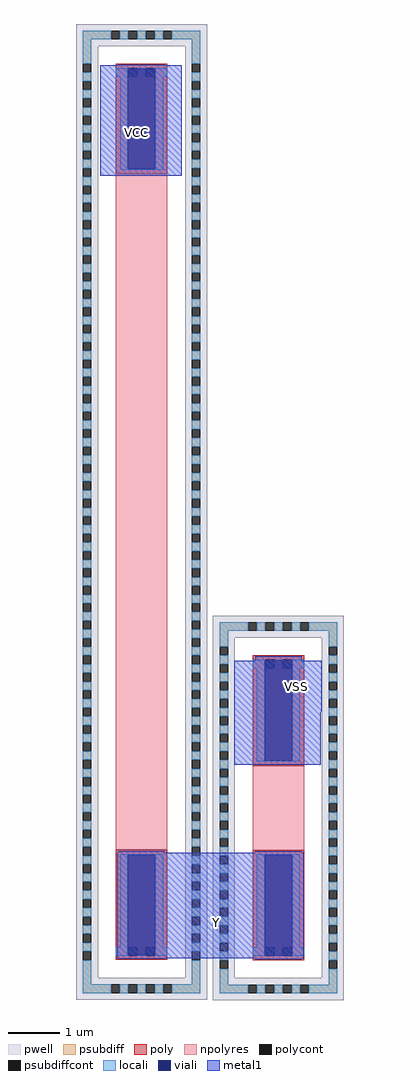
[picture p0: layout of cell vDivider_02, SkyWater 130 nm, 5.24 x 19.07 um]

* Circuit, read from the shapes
.subckt vDivider_02 VCC Y VSS
R1 VCC Y sky130_fd_pr__res_generic_po w=1 l=13.2
R2 VSS Y sky130_fd_pr__res_generic_po w=1 l=1.65
.ends

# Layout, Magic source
magic
tech sky130B
magscale 1 2
<< metal1 >>
rect 52 3776 370 4208
rect 576 1682 918 1882
rect 576 1476 914 1682
rect 118 720 846 1132
use sky130_fd_pr__res_generic_po_4WEV9M  R1
transform 1 0 748 0 1 1307
box -256 -751 256 751
use sky130_fd_pr__res_generic_po_4LLJEK  R3
transform 1 0 213 0 1 2463
box -256 -1906 256 1906
<< labels >>
flabel metal1 s 92 3846 292 4046 0 FreeSans 320 0 0 0 VCC
port 1 nsew
flabel metal1 s 404 758 604 958 0 FreeSans 320 0 0 0 Y
port 2 nsew
flabel metal1 s 718 1682 918 1882 0 FreeSans 320 0 0 0 VSS
port 3 nsew
<< end >>

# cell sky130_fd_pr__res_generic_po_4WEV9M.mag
magic
tech sky130B
magscale 1 2
<< pwell >>
rect -256 665 256 751
rect -256 -665 -170 665
rect 170 -665 256 665
rect -256 -751 256 -665
<< psubdiff >>
rect -230 691 -119 725
rect -85 691 -51 725
rect -17 691 17 725
rect 51 691 85 725
rect 119 691 230 725
rect -230 629 -196 691
rect 196 629 230 691
rect -230 561 -196 595
rect -230 493 -196 527
rect -230 425 -196 459
rect -230 357 -196 391
rect -230 289 -196 323
rect -230 221 -196 255
rect -230 153 -196 187
rect -230 85 -196 119
rect -230 17 -196 51
rect -230 -51 -196 -17
rect -230 -119 -196 -85
rect -230 -187 -196 -153
rect -230 -255 -196 -221
rect -230 -323 -196 -289
rect -230 -391 -196 -357
rect -230 -459 -196 -425
rect -230 -527 -196 -493
rect -230 -595 -196 -561
rect 196 561 230 595
rect 196 493 230 527
rect 196 425 230 459
rect 196 357 230 391
rect 196 289 230 323
rect 196 221 230 255
rect 196 153 230 187
rect 196 85 230 119
rect 196 17 230 51
rect 196 -51 230 -17
rect 196 -119 230 -85
rect 196 -187 230 -153
rect 196 -255 230 -221
rect 196 -323 230 -289
rect 196 -391 230 -357
rect 196 -459 230 -425
rect 196 -527 230 -493
rect 196 -595 230 -561
rect -230 -691 -196 -629
rect 196 -691 230 -629
rect -230 -725 -119 -691
rect -85 -725 -51 -691
rect -17 -725 17 -691
rect 51 -725 85 -691
rect 119 -725 230 -691
<< psubdiffcont >>
rect -119 691 -85 725
rect -51 691 -17 725
rect 17 691 51 725
rect 85 691 119 725
rect -230 595 -196 629
rect 196 595 230 629
rect -230 527 -196 561
rect -230 459 -196 493
rect -230 391 -196 425
rect -230 323 -196 357
rect -230 255 -196 289
rect -230 187 -196 221
rect -230 119 -196 153
rect -230 51 -196 85
rect -230 -17 -196 17
rect -230 -85 -196 -51
rect -230 -153 -196 -119
rect -230 -221 -196 -187
rect -230 -289 -196 -255
rect -230 -357 -196 -323
rect -230 -425 -196 -391
rect -230 -493 -196 -459
rect -230 -561 -196 -527
rect 196 527 230 561
rect 196 459 230 493
rect 196 391 230 425
rect 196 323 230 357
rect 196 255 230 289
rect 196 187 230 221
rect 196 119 230 153
rect 196 51 230 85
rect 196 -17 230 17
rect 196 -85 230 -51
rect 196 -153 230 -119
rect 196 -221 230 -187
rect 196 -289 230 -255
rect 196 -357 230 -323
rect 196 -425 230 -391
rect 196 -493 230 -459
rect 196 -561 230 -527
rect -230 -629 -196 -595
rect 196 -629 230 -595
rect -119 -725 -85 -691
rect -51 -725 -17 -691
rect 17 -725 51 -691
rect 85 -725 119 -691
<< poly >>
rect -100 579 100 595
rect -100 545 -51 579
rect -17 545 17 579
rect 51 545 100 579
rect -100 165 100 545
rect -100 -545 100 -165
rect -100 -579 -51 -545
rect -17 -579 17 -545
rect 51 -579 100 -545
rect -100 -595 100 -579
<< polycont >>
rect -51 545 -17 579
rect 17 545 51 579
rect -51 -579 -17 -545
rect 17 -579 51 -545
<< npolyres >>
rect -100 -165 100 165
<< locali >>
rect -230 691 -119 725
rect -85 691 -51 725
rect -17 691 17 725
rect 51 691 85 725
rect 119 691 230 725
rect -230 629 -196 691
rect -230 561 -196 595
rect 196 629 230 691
rect -100 577 -51 579
rect -17 577 17 579
rect 51 577 100 579
rect -100 545 -53 577
rect 53 545 100 577
rect 196 561 230 595
rect -230 493 -196 527
rect -230 425 -196 459
rect -230 357 -196 391
rect -230 289 -196 323
rect -230 221 -196 255
rect -230 153 -196 187
rect -84 183 -53 545
rect 53 183 84 545
rect -84 182 84 183
rect 196 493 230 527
rect 196 425 230 459
rect 196 357 230 391
rect 196 289 230 323
rect 196 221 230 255
rect -230 85 -196 119
rect -230 17 -196 51
rect -230 -51 -196 -17
rect -230 -119 -196 -85
rect -230 -187 -196 -153
rect 196 153 230 187
rect 196 85 230 119
rect 196 17 230 51
rect 196 -51 230 -17
rect 196 -119 230 -85
rect -230 -255 -196 -221
rect -230 -323 -196 -289
rect -230 -391 -196 -357
rect -230 -459 -196 -425
rect -230 -527 -196 -493
rect -84 -184 84 -182
rect -84 -545 -53 -184
rect 53 -545 84 -184
rect 196 -187 230 -153
rect 196 -255 230 -221
rect 196 -323 230 -289
rect 196 -391 230 -357
rect 196 -459 230 -425
rect 196 -527 230 -493
rect -230 -595 -196 -561
rect -100 -578 -53 -545
rect 53 -578 100 -545
rect -100 -579 -51 -578
rect -17 -579 17 -578
rect 51 -579 100 -578
rect -230 -691 -196 -629
rect 196 -595 230 -561
rect 196 -691 230 -629
rect -230 -725 -119 -691
rect -85 -725 -51 -691
rect -17 -725 17 -691
rect 51 -725 85 -691
rect 119 -725 230 -691
<< viali >>
rect -53 545 -51 577
rect -51 545 -17 577
rect -17 545 17 577
rect 17 545 51 577
rect 51 545 53 577
rect -53 183 53 545
rect -53 -545 53 -184
rect -53 -578 -51 -545
rect -51 -578 -17 -545
rect -17 -578 17 -545
rect 17 -578 51 -545
rect 51 -578 53 -545
<< metal1 >>
rect -90 577 90 591
rect -90 183 -53 577
rect 53 183 90 577
rect -90 170 90 183
rect -90 -184 90 -170
rect -90 -578 -53 -184
rect 53 -578 90 -184
rect -90 -591 90 -578
<< properties >>
string FIXED_BBOX -213 -708 213 708
<< end >>

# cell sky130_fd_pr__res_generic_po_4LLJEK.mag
magic
tech sky130B
magscale 1 2
<< pwell >>
rect -256 1820 256 1906
rect -256 -1820 -170 1820
rect 170 -1820 256 1820
rect -256 -1906 256 -1820
<< psubdiff >>
rect -230 1846 -119 1880
rect -85 1846 -51 1880
rect -17 1846 17 1880
rect 51 1846 85 1880
rect 119 1846 230 1880
rect -230 1751 -196 1846
rect 196 1751 230 1846
rect -230 1683 -196 1717
rect -230 1615 -196 1649
rect -230 1547 -196 1581
rect -230 1479 -196 1513
rect -230 1411 -196 1445
rect -230 1343 -196 1377
rect -230 1275 -196 1309
rect -230 1207 -196 1241
rect -230 1139 -196 1173
rect -230 1071 -196 1105
rect -230 1003 -196 1037
rect -230 935 -196 969
rect -230 867 -196 901
rect -230 799 -196 833
rect -230 731 -196 765
rect -230 663 -196 697
rect -230 595 -196 629
rect -230 527 -196 561
rect -230 459 -196 493
rect -230 391 -196 425
rect -230 323 -196 357
rect -230 255 -196 289
rect -230 187 -196 221
rect -230 119 -196 153
rect -230 51 -196 85
rect -230 -17 -196 17
rect -230 -85 -196 -51
rect -230 -153 -196 -119
rect -230 -221 -196 -187
rect -230 -289 -196 -255
rect -230 -357 -196 -323
rect -230 -425 -196 -391
rect -230 -493 -196 -459
rect -230 -561 -196 -527
rect -230 -629 -196 -595
rect -230 -697 -196 -663
rect -230 -765 -196 -731
rect -230 -833 -196 -799
rect -230 -901 -196 -867
rect -230 -969 -196 -935
rect -230 -1037 -196 -1003
rect -230 -1105 -196 -1071
rect -230 -1173 -196 -1139
rect -230 -1241 -196 -1207
rect -230 -1309 -196 -1275
rect -230 -1377 -196 -1343
rect -230 -1445 -196 -1411
rect -230 -1513 -196 -1479
rect -230 -1581 -196 -1547
rect -230 -1649 -196 -1615
rect -230 -1717 -196 -1683
rect 196 1683 230 1717
rect 196 1615 230 1649
rect 196 1547 230 1581
rect 196 1479 230 1513
rect 196 1411 230 1445
rect 196 1343 230 1377
rect 196 1275 230 1309
rect 196 1207 230 1241
rect 196 1139 230 1173
rect 196 1071 230 1105
rect 196 1003 230 1037
rect 196 935 230 969
rect 196 867 230 901
rect 196 799 230 833
rect 196 731 230 765
rect 196 663 230 697
rect 196 595 230 629
rect 196 527 230 561
rect 196 459 230 493
rect 196 391 230 425
rect 196 323 230 357
rect 196 255 230 289
rect 196 187 230 221
rect 196 119 230 153
rect 196 51 230 85
rect 196 -17 230 17
rect 196 -85 230 -51
rect 196 -153 230 -119
rect 196 -221 230 -187
rect 196 -289 230 -255
rect 196 -357 230 -323
rect 196 -425 230 -391
rect 196 -493 230 -459
rect 196 -561 230 -527
rect 196 -629 230 -595
rect 196 -697 230 -663
rect 196 -765 230 -731
rect 196 -833 230 -799
rect 196 -901 230 -867
rect 196 -969 230 -935
rect 196 -1037 230 -1003
rect 196 -1105 230 -1071
rect 196 -1173 230 -1139
rect 196 -1241 230 -1207
rect 196 -1309 230 -1275
rect 196 -1377 230 -1343
rect 196 -1445 230 -1411
rect 196 -1513 230 -1479
rect 196 -1581 230 -1547
rect 196 -1649 230 -1615
rect 196 -1717 230 -1683
rect -230 -1846 -196 -1751
rect 196 -1846 230 -1751
rect -230 -1880 -119 -1846
rect -85 -1880 -51 -1846
rect -17 -1880 17 -1846
rect 51 -1880 85 -1846
rect 119 -1880 230 -1846
<< psubdiffcont >>
rect -119 1846 -85 1880
rect -51 1846 -17 1880
rect 17 1846 51 1880
rect 85 1846 119 1880
rect -230 1717 -196 1751
rect -230 1649 -196 1683
rect -230 1581 -196 1615
rect -230 1513 -196 1547
rect -230 1445 -196 1479
rect -230 1377 -196 1411
rect -230 1309 -196 1343
rect -230 1241 -196 1275
rect -230 1173 -196 1207
rect -230 1105 -196 1139
rect -230 1037 -196 1071
rect -230 969 -196 1003
rect -230 901 -196 935
rect -230 833 -196 867
rect -230 765 -196 799
rect -230 697 -196 731
rect -230 629 -196 663
rect -230 561 -196 595
rect -230 493 -196 527
rect -230 425 -196 459
rect -230 357 -196 391
rect -230 289 -196 323
rect -230 221 -196 255
rect -230 153 -196 187
rect -230 85 -196 119
rect -230 17 -196 51
rect -230 -51 -196 -17
rect -230 -119 -196 -85
rect -230 -187 -196 -153
rect -230 -255 -196 -221
rect -230 -323 -196 -289
rect -230 -391 -196 -357
rect -230 -459 -196 -425
rect -230 -527 -196 -493
rect -230 -595 -196 -561
rect -230 -663 -196 -629
rect -230 -731 -196 -697
rect -230 -799 -196 -765
rect -230 -867 -196 -833
rect -230 -935 -196 -901
rect -230 -1003 -196 -969
rect -230 -1071 -196 -1037
rect -230 -1139 -196 -1105
rect -230 -1207 -196 -1173
rect -230 -1275 -196 -1241
rect -230 -1343 -196 -1309
rect -230 -1411 -196 -1377
rect -230 -1479 -196 -1445
rect -230 -1547 -196 -1513
rect -230 -1615 -196 -1581
rect -230 -1683 -196 -1649
rect -230 -1751 -196 -1717
rect 196 1717 230 1751
rect 196 1649 230 1683
rect 196 1581 230 1615
rect 196 1513 230 1547
rect 196 1445 230 1479
rect 196 1377 230 1411
rect 196 1309 230 1343
rect 196 1241 230 1275
rect 196 1173 230 1207
rect 196 1105 230 1139
rect 196 1037 230 1071
rect 196 969 230 1003
rect 196 901 230 935
rect 196 833 230 867
rect 196 765 230 799
rect 196 697 230 731
rect 196 629 230 663
rect 196 561 230 595
rect 196 493 230 527
rect 196 425 230 459
rect 196 357 230 391
rect 196 289 230 323
rect 196 221 230 255
rect 196 153 230 187
rect 196 85 230 119
rect 196 17 230 51
rect 196 -51 230 -17
rect 196 -119 230 -85
rect 196 -187 230 -153
rect 196 -255 230 -221
rect 196 -323 230 -289
rect 196 -391 230 -357
rect 196 -459 230 -425
rect 196 -527 230 -493
rect 196 -595 230 -561
rect 196 -663 230 -629
rect 196 -731 230 -697
rect 196 -799 230 -765
rect 196 -867 230 -833
rect 196 -935 230 -901
rect 196 -1003 230 -969
rect 196 -1071 230 -1037
rect 196 -1139 230 -1105
rect 196 -1207 230 -1173
rect 196 -1275 230 -1241
rect 196 -1343 230 -1309
rect 196 -1411 230 -1377
rect 196 -1479 230 -1445
rect 196 -1547 230 -1513
rect 196 -1615 230 -1581
rect 196 -1683 230 -1649
rect 196 -1751 230 -1717
rect -119 -1880 -85 -1846
rect -51 -1880 -17 -1846
rect 17 -1880 51 -1846
rect 85 -1880 119 -1846
<< poly >>
rect -100 1734 100 1750
rect -100 1700 -51 1734
rect -17 1700 17 1734
rect 51 1700 100 1734
rect -100 1320 100 1700
rect -100 -1700 100 -1320
rect -100 -1734 -51 -1700
rect -17 -1734 17 -1700
rect 51 -1734 100 -1700
rect -100 -1750 100 -1734
<< polycont >>
rect -51 1700 -17 1734
rect 17 1700 51 1734
rect -51 -1734 -17 -1700
rect 17 -1734 51 -1700
<< npolyres >>
rect -100 -1320 100 1320
<< locali >>
rect -230 1846 -119 1880
rect -85 1846 -51 1880
rect -17 1846 17 1880
rect 51 1846 85 1880
rect 119 1846 230 1880
rect -230 1751 -196 1846
rect 196 1751 230 1846
rect -230 1683 -196 1717
rect -100 1732 -51 1734
rect -17 1732 17 1734
rect 51 1732 100 1734
rect -100 1700 -53 1732
rect 53 1700 100 1732
rect -230 1615 -196 1649
rect -230 1547 -196 1581
rect -230 1479 -196 1513
rect -230 1411 -196 1445
rect -230 1343 -196 1377
rect -84 1338 -53 1700
rect 53 1338 84 1700
rect -84 1337 84 1338
rect 196 1683 230 1717
rect 196 1615 230 1649
rect 196 1547 230 1581
rect 196 1479 230 1513
rect 196 1411 230 1445
rect 196 1343 230 1377
rect -230 1275 -196 1309
rect -230 1207 -196 1241
rect -230 1139 -196 1173
rect -230 1071 -196 1105
rect -230 1003 -196 1037
rect -230 935 -196 969
rect -230 867 -196 901
rect -230 799 -196 833
rect -230 731 -196 765
rect -230 663 -196 697
rect -230 595 -196 629
rect -230 527 -196 561
rect -230 459 -196 493
rect -230 391 -196 425
rect -230 323 -196 357
rect -230 255 -196 289
rect -230 187 -196 221
rect -230 119 -196 153
rect -230 51 -196 85
rect -230 -17 -196 17
rect -230 -85 -196 -51
rect -230 -153 -196 -119
rect -230 -221 -196 -187
rect -230 -289 -196 -255
rect -230 -357 -196 -323
rect -230 -425 -196 -391
rect -230 -493 -196 -459
rect -230 -561 -196 -527
rect -230 -629 -196 -595
rect -230 -697 -196 -663
rect -230 -765 -196 -731
rect -230 -833 -196 -799
rect -230 -901 -196 -867
rect -230 -969 -196 -935
rect -230 -1037 -196 -1003
rect -230 -1105 -196 -1071
rect -230 -1173 -196 -1139
rect -230 -1241 -196 -1207
rect -230 -1309 -196 -1275
rect 196 1275 230 1309
rect 196 1207 230 1241
rect 196 1139 230 1173
rect 196 1071 230 1105
rect 196 1003 230 1037
rect 196 935 230 969
rect 196 867 230 901
rect 196 799 230 833
rect 196 731 230 765
rect 196 663 230 697
rect 196 595 230 629
rect 196 527 230 561
rect 196 459 230 493
rect 196 391 230 425
rect 196 323 230 357
rect 196 255 230 289
rect 196 187 230 221
rect 196 119 230 153
rect 196 51 230 85
rect 196 -17 230 17
rect 196 -85 230 -51
rect 196 -153 230 -119
rect 196 -221 230 -187
rect 196 -289 230 -255
rect 196 -357 230 -323
rect 196 -425 230 -391
rect 196 -493 230 -459
rect 196 -561 230 -527
rect 196 -629 230 -595
rect 196 -697 230 -663
rect 196 -765 230 -731
rect 196 -833 230 -799
rect 196 -901 230 -867
rect 196 -969 230 -935
rect 196 -1037 230 -1003
rect 196 -1105 230 -1071
rect 196 -1173 230 -1139
rect 196 -1241 230 -1207
rect 196 -1309 230 -1275
rect -230 -1377 -196 -1343
rect -230 -1445 -196 -1411
rect -230 -1513 -196 -1479
rect -230 -1581 -196 -1547
rect -230 -1649 -196 -1615
rect -230 -1717 -196 -1683
rect -84 -1339 84 -1337
rect -84 -1700 -53 -1339
rect 53 -1700 84 -1339
rect 196 -1377 230 -1343
rect 196 -1445 230 -1411
rect 196 -1513 230 -1479
rect 196 -1581 230 -1547
rect 196 -1649 230 -1615
rect -100 -1733 -53 -1700
rect 53 -1733 100 -1700
rect -100 -1734 -51 -1733
rect -17 -1734 17 -1733
rect 51 -1734 100 -1733
rect 196 -1717 230 -1683
rect -230 -1846 -196 -1751
rect 196 -1846 230 -1751
rect -230 -1880 -119 -1846
rect -85 -1880 -51 -1846
rect -17 -1880 17 -1846
rect 51 -1880 85 -1846
rect 119 -1880 230 -1846
<< viali >>
rect -53 1700 -51 1732
rect -51 1700 -17 1732
rect -17 1700 17 1732
rect 17 1700 51 1732
rect 51 1700 53 1732
rect -53 1338 53 1700
rect -53 -1700 53 -1339
rect -53 -1733 -51 -1700
rect -51 -1733 -17 -1700
rect -17 -1733 17 -1700
rect 17 -1733 51 -1700
rect 51 -1733 53 -1700
<< metal1 >>
rect -90 1732 90 1746
rect -90 1338 -53 1732
rect 53 1338 90 1732
rect -90 1325 90 1338
rect -90 -1339 90 -1325
rect -90 -1733 -53 -1339
rect 53 -1733 90 -1339
rect -90 -1746 90 -1733
<< properties >>
string FIXED_BBOX -213 -1863 213 1863
<< end >>
